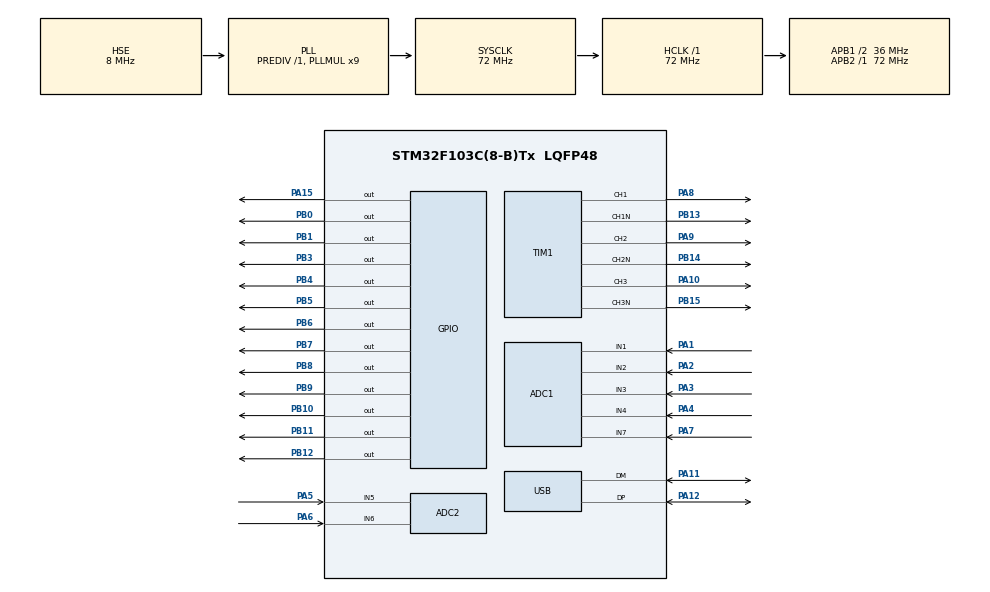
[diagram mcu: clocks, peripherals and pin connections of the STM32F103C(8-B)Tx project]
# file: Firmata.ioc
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ADC1.Channel-0\#ChannelRegularConversion=ADC_CHANNEL_1
ADC1.Channel-1\#ChannelRegularConversion=ADC_CHANNEL_2
ADC1.Channel-2\#ChannelRegularConversion=ADC_CHANNEL_3
ADC1.Channel-3\#ChannelRegularConversion=ADC_CHANNEL_4
ADC1.Channel-4\#ChannelRegularConversion=ADC_CHANNEL_7
ADC1.ContinuousConvMode=ENABLE
ADC1.NbrOfConversion=5
ADC1.NbrOfConversionFlag=1
ADC1.Rank-0\#ChannelRegularConversion=1
ADC1.Rank-1\#ChannelRegularConversion=2
ADC1.Rank-2\#ChannelRegularConversion=3
ADC1.Rank-3\#ChannelRegularConversion=4
ADC1.Rank-4\#ChannelRegularConversion=5
ADC1.SamplingTime-0\#ChannelRegularConversion=ADC_SAMPLETIME_41CYCLES_5
ADC1.SamplingTime-1\#ChannelRegularConversion=ADC_SAMPLETIME_41CYCLES_5
ADC1.SamplingTime-2\#ChannelRegularConversion=ADC_SAMPLETIME_41CYCLES_5
ADC1.SamplingTime-3\#ChannelRegularConversion=ADC_SAMPLETIME_41CYCLES_5
ADC1.SamplingTime-4\#ChannelRegularConversion=ADC_SAMPLETIME_41CYCLES_5
ADC1.master=1
ADC2.Channel-0\#ChannelRegularConversion=ADC_CHANNEL_5
ADC2.Channel-1\#ChannelRegularConversion=ADC_CHANNEL_6
ADC2.ContinuousConvMode=ENABLE
ADC2.NbrOfConversion=2
ADC2.NbrOfConversionFlag=1
ADC2.Rank-0\#ChannelRegularConversion=1
ADC2.Rank-1\#ChannelRegularConversion=2
ADC2.SamplingTime-0\#ChannelRegularConversion=ADC_SAMPLETIME_41CYCLES_5
ADC2.SamplingTime-1\#ChannelRegularConversion=ADC_SAMPLETIME_41CYCLES_5
Dma.ADC1.0.Direction=DMA_PERIPH_TO_MEMORY
Dma.ADC1.0.Instance=DMA1_Channel1
Dma.ADC1.0.MemDataAlignment=DMA_MDATAALIGN_HALFWORD
Dma.ADC1.0.MemInc=DMA_MINC_ENABLE
Dma.ADC1.0.Mode=DMA_NORMAL
Dma.ADC1.0.PeriphDataAlignment=DMA_PDATAALIGN_HALFWORD
Dma.ADC1.0.PeriphInc=DMA_PINC_DISABLE
Dma.ADC1.0.Priority=DMA_PRIORITY_HIGH
Dma.Request0=ADC1
Mcu.Family=STM32F1
Mcu.Name=STM32F103C(8-B)Tx
Mcu.Package=LQFP48
NVIC.DMA1_Channel1_IRQn=true\:0\:0\:false\:false\:true\:false
NVIC.PriorityGroup=NVIC_PRIORITYGROUP_4
NVIC.USB_LP_CAN1_RX0_IRQn=true\:0\:0\:false\:false\:true\:false
PA1.Signal=ADCx_IN1
PA10.Signal=S_TIM1_CH3
PA11.Mode=Device
PA11.Signal=USB_DM
PA12.Mode=Device
PA12.Signal=USB_DP
PA13.Mode=Serial_Wire
PA13.Signal=SYS_JTMS-SWDIO
PA14.Mode=Serial_Wire
PA14.Signal=SYS_JTCK-SWCLK
PA15.GPIO_PuPd=GPIO_PULLUP
PA15.PinState=GPIO_PIN_SET
PA15.Signal=GPIO_Output
PA2.Signal=ADCx_IN2
PA3.Signal=ADCx_IN3
PA4.Signal=ADCx_IN4
PA5.Signal=ADCx_IN5
PA6.Signal=ADCx_IN6
PA7.Signal=ADCx_IN7
PA8.Signal=S_TIM1_CH1
PA9.Signal=S_TIM1_CH2
PB0.GPIO_ModeDefaultOutputPP=GPIO_MODE_OUTPUT_PP
PB0.GPIO_PuPd=GPIO_PULLUP
PB0.PinState=GPIO_PIN_SET
PB0.Signal=GPIO_Output
PB1.GPIO_PuPd=GPIO_PULLUP
PB1.PinState=GPIO_PIN_SET
PB1.Signal=GPIO_Output
PB10.GPIO_PuPd=GPIO_PULLUP
PB10.PinState=GPIO_PIN_SET
PB10.Signal=GPIO_Output
PB11.GPIO_PuPd=GPIO_PULLUP
PB11.PinState=GPIO_PIN_SET
PB11.Signal=GPIO_Output
PB12.GPIO_PuPd=GPIO_PULLUP
PB12.PinState=GPIO_PIN_SET
PB12.Signal=GPIO_Output
PB13.Mode=PWM Generation1 CH1 CH1N
PB13.Signal=TIM1_CH1N
PB14.Mode=PWM Generation2 CH2 CH2N
PB14.Signal=TIM1_CH2N
PB15.Mode=PWM Generation3 CH3 CH3N
PB15.Signal=TIM1_CH3N
PB3.GPIO_ModeDefaultOutputPP=GPIO_MODE_OUTPUT_PP
PB3.GPIO_PuPd=GPIO_PULLUP
PB3.PinState=GPIO_PIN_SET
PB3.Signal=GPIO_Output
PB4.GPIO_PuPd=GPIO_PULLUP
PB4.PinState=GPIO_PIN_SET
PB4.Signal=GPIO_Output
PB5.GPIO_PuPd=GPIO_PULLUP
PB5.PinState=GPIO_PIN_SET
PB5.Signal=GPIO_Output
PB6.GPIO_PuPd=GPIO_PULLUP
PB6.PinState=GPIO_PIN_SET
PB6.Signal=GPIO_Output
PB7.GPIO_PuPd=GPIO_PULLUP
PB7.PinState=GPIO_PIN_SET
PB7.Signal=GPIO_Output
PB8.GPIO_PuPd=GPIO_PULLUP
PB8.PinState=GPIO_PIN_SET
PB8.Signal=GPIO_Output
PB9.GPIO_PuPd=GPIO_PULLUP
PB9.PinState=GPIO_PIN_SET
PB9.Signal=GPIO_Output
PD0-OSC_IN.Mode=HSE-External-Oscillator
PD0-OSC_IN.Signal=RCC_OSC_IN
PD1-OSC_OUT.Mode=HSE-External-Oscillator
PD1-OSC_OUT.Signal=RCC_OSC_OUT
ProjectManager.HeapSize=0x200
ProjectManager.StackSize=0x400
ProjectManager.TargetToolchain=MDK-ARM V5
RCC.ADCPresc=RCC_ADCPCLK2_DIV6
RCC.AHBFreq_Value=72000000
RCC.APB1CLKDivider=RCC_HCLK_DIV2
RCC.APB1Freq_Value=36000000
RCC.APB1TimFreq_Value=72000000
RCC.APB2Freq_Value=72000000
RCC.APB2TimFreq_Value=72000000
RCC.HCLKFreq_Value=72000000
RCC.PLLMUL=RCC_PLL_MUL9
RCC.SYSCLKFreq_VALUE=72000000
RCC.SYSCLKSource=RCC_SYSCLKSOURCE_PLLCLK
RCC.USBFreq_Value=48000000
RCC.USBPrescaler=RCC_USBCLKSOURCE_PLL_DIV1_5
SH.ADCx_IN1.0=ADC1_IN1,IN1
SH.ADCx_IN2.0=ADC1_IN2,IN2
SH.ADCx_IN3.0=ADC1_IN3,IN3
SH.ADCx_IN4.0=ADC1_IN4,IN4
SH.ADCx_IN5.0=ADC2_IN5,IN5
SH.ADCx_IN6.0=ADC2_IN6,IN6
SH.ADCx_IN7.0=ADC1_IN7,IN7
SH.S_TIM1_CH1.0=TIM1_CH1,PWM Generation1 CH1 CH1N
SH.S_TIM1_CH2.0=TIM1_CH2,PWM Generation2 CH2 CH2N
SH.S_TIM1_CH3.0=TIM1_CH3,PWM Generation3 CH3 CH3N
TIM1.Channel-PWM\ Generation1\ CH1\ CH1N=TIM_CHANNEL_1
TIM1.Channel-PWM\ Generation2\ CH2\ CH2N=TIM_CHANNEL_2
TIM1.Channel-PWM\ Generation3\ CH3\ CH3N=TIM_CHANNEL_3
USB_DEVICE.CLASS_NAME_FS=CDC
USB_DEVICE.VirtualMode=Cdc
USB_DEVICE.VirtualModeFS=Cdc_FS
VP_TIM1_VS_ClockSourceINT.Mode=Internal
VP_USB_DEVICE_VS_USB_DEVICE_CDC_FS.Mode=CDC_FS
board=custom

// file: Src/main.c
/* USER CODE BEGIN Header */
/**
  ******************************************************************************
  * @file           : main.c
  * @brief          : Main program body for firmata version 1.0, DACard-Basic
	* @author					:	Yawar Badri
  ******************************************************************************
  * This notice applies to any and all portions of this file
  * that are not between comment pairs USER CODE BEGIN and
  * USER CODE END. Other portions of this file, whether
  * inserted by the user or by software development tools
  * are owned by their respective copyright owners.
  *
  * Copyright (c) 2020 Yawar Badri
  * All rights reserved.
  *
  * Redistribution and use in source and binary forms, with or without
  * modification, are permitted, provided that the following conditions are met:
  *
  */
/* USER CODE END Header */

#include "main.h"
#include "usb_device.h"

ADC_HandleTypeDef hadc1;
ADC_HandleTypeDef hadc2;
DMA_HandleTypeDef hdma_adc1;

TIM_HandleTypeDef htim1;

void SystemClock_Config(void);
static void MX_GPIO_Init(void);
static void MX_DMA_Init(void);
static void MX_ADC1_Init(void);
static void MX_ADC2_Init(void);
static void MX_TIM1_Init(void);

/* USER CODE BEGIN 0 */

/*
Gain test function		// DEBUG 24032020 | 2100
the gain pins use active low logic.
*/
void gain_test_debug()
{
	HAL_GPIO_WritePin(GPIOB,GPIO_PIN_12, GPIO_PIN_RESET);
	HAL_GPIO_WritePin(GPIOA,GPIO_PIN_15, GPIO_PIN_RESET);
	HAL_Delay(1000);
	HAL_GPIO_WritePin(GPIOB,GPIO_PIN_12, GPIO_PIN_RESET);
	HAL_GPIO_WritePin(GPIOA,GPIO_PIN_15, GPIO_PIN_SET);
	HAL_Delay(1000);
	HAL_GPIO_WritePin(GPIOB,GPIO_PIN_12, GPIO_PIN_SET);
	HAL_GPIO_WritePin(GPIOA,GPIO_PIN_15, GPIO_PIN_RESET);
	HAL_Delay(1000);
	HAL_GPIO_WritePin(GPIOB,GPIO_PIN_12, GPIO_PIN_SET);
	HAL_GPIO_WritePin(GPIOA,GPIO_PIN_15, GPIO_PIN_SET);
}

/* USER CODE END 0 */

int main(void)
{
  /* USER CODE BEGIN 1 */
	/*
					VARIABLE AND FLAG DEFINITIONS
		all the buffer variables and flags are defined here
	*/
	//INPUT
//	uint16_t rot_enc_val = 0; //rotary potentiometer
	char sw_tct_state = 0;		//tactile switch value
	//ADC
	uint32_t aclv_val[2] = {0};		//ACLV value buffer+crossing detector on adc2
	uint32_t dc_adc[5] = {0};	//DC analog pin value buffer matrix (4adc+rot)
//	char cx_det = 0;					//crossing detector buffer
	//SENSOR
	uint16_t I_sens = 0;			//Current sensor value buffer
	uint16_t V_sens = 0;			//Voltage sensor value buffer
	//DIP6
	char dip6_ibuff[6] = {0};
	//PWM
	short int pwm_con[4] = {0};	//This array holds PWM control values -> ON/OFF, frequency premuls, independent/phases(1,2,3), duty
	//Send data buffer
	char dacb_sb[100] = {0};			//This buffer is used to hold the data to be sent over usb, including for now the adc data
	//================================
	//modify as required
	//FLAG_firmata
	char flg_f[6] = {0};
	//FLAG_command
	char flg_c[6] = {0};
	//================================
  /* USER CODE END 1 */

  /* MCU Configuration--------------------------------------------------------*/

  /* Reset of all peripherals, Initializes the Flash interface and the Systick. */
  HAL_Init();

  /* Configure the system clock */
  SystemClock_Config();

  /* Initialize all configured peripherals */
  MX_GPIO_Init();
  MX_DMA_Init();
  MX_ADC1_Init();
  MX_ADC2_Init();
  MX_TIM1_Init();
  MX_USB_DEVICE_Init();
  /* USER CODE BEGIN 2 */
/*
Generate a test signal to check whether gain control is working
in a separate function
*/
gain_test_debug();

  /* USER CODE END 2 */

  /* Infinite loop */
  /* USER CODE BEGIN WHILE */
  while (1)
  {

		//hal adc test_		4 DC analog pins using dc_adc[]
		HAL_ADC_Start_DMA(&hadc1,dc_adc,5);
		HAL_ADC_Start_DMA(&hadc2,aclv_val,2);

		// now send it over usb to check wether it works or not
                 // Device header
		sprintf(dacb_sb,"a%u ,b%u ,c%u ,d%u ",dc_adc[0],dc_adc[1],dc_adc[2],dc_adc[3]);
		/*
		DEBUG 01042020
		The analog values on the DC and AC channels are acquired well.
		Now process and send them

		*/
		CDC_Transmit_FS((uint8_t *) dacb_sb, sizeof(dacb_sb));
		HAL_Delay(1000);

    /* USER CODE END WHILE */

  }
}

void SystemClock_Config(void)
{
  RCC_OscInitTypeDef RCC_OscInitStruct = {0};
  RCC_ClkInitTypeDef RCC_ClkInitStruct = {0};
  RCC_PeriphCLKInitTypeDef PeriphClkInit = {0};

  /**Initializes the CPU, AHB and APB busses clocks
  */
  RCC_OscInitStruct.OscillatorType = RCC_OSCILLATORTYPE_HSE;
  RCC_OscInitStruct.HSEState = RCC_HSE_ON;
  RCC_OscInitStruct.HSEPredivValue = RCC_HSE_PREDIV_DIV1;
  RCC_OscInitStruct.HSIState = RCC_HSI_ON;
  RCC_OscInitStruct.PLL.PLLState = RCC_PLL_ON;
  RCC_OscInitStruct.PLL.PLLSource = RCC_PLLSOURCE_HSE;
  RCC_OscInitStruct.PLL.PLLMUL = RCC_PLL_MUL9;
  if (HAL_RCC_OscConfig(&RCC_OscInitStruct) != HAL_OK)
  {
    Error_Handler();
  }
  /**Initializes the CPU, AHB and APB busses clocks
  */
  RCC_ClkInitStruct.ClockType = RCC_CLOCKTYPE_HCLK|RCC_CLOCKTYPE_SYSCLK
                              |RCC_CLOCKTYPE_PCLK1|RCC_CLOCKTYPE_PCLK2;
  RCC_ClkInitStruct.SYSCLKSource = RCC_SYSCLKSOURCE_PLLCLK;
  RCC_ClkInitStruct.AHBCLKDivider = RCC_SYSCLK_DIV1;
  RCC_ClkInitStruct.APB1CLKDivider = RCC_HCLK_DIV2;
  RCC_ClkInitStruct.APB2CLKDivider = RCC_HCLK_DIV1;

  if (HAL_RCC_ClockConfig(&RCC_ClkInitStruct, FLASH_LATENCY_2) != HAL_OK)
  {
    Error_Handler();
  }
  PeriphClkInit.PeriphClockSelection = RCC_PERIPHCLK_ADC|RCC_PERIPHCLK_USB;
  PeriphClkInit.AdcClockSelection = RCC_ADCPCLK2_DIV6;
  PeriphClkInit.UsbClockSelection = RCC_USBCLKSOURCE_PLL_DIV1_5;
  if (HAL_RCCEx_PeriphCLKConfig(&PeriphClkInit) != HAL_OK)
  {
    Error_Handler();
  }
}

static void MX_ADC1_Init(void)
{

  ADC_ChannelConfTypeDef sConfig = {0};

  /**Common config
  */
  hadc1.Instance = ADC1;
  hadc1.Init.ScanConvMode = ADC_SCAN_ENABLE;
  hadc1.Init.ContinuousConvMode = ENABLE;
  hadc1.Init.DiscontinuousConvMode = DISABLE;
  hadc1.Init.ExternalTrigConv = ADC_SOFTWARE_START;
  hadc1.Init.DataAlign = ADC_DATAALIGN_RIGHT;
  hadc1.Init.NbrOfConversion = 5;
  if (HAL_ADC_Init(&hadc1) != HAL_OK)
  {
    Error_Handler();
  }
  /**Configure Regular Channel
  */
  sConfig.Channel = ADC_CHANNEL_1;
  sConfig.Rank = ADC_REGULAR_RANK_1;
  sConfig.SamplingTime = ADC_SAMPLETIME_41CYCLES_5;
  if (HAL_ADC_ConfigChannel(&hadc1, &sConfig) != HAL_OK)
  {
    Error_Handler();
  }
  /**Configure Regular Channel
  */
  sConfig.Channel = ADC_CHANNEL_2;
  sConfig.Rank = ADC_REGULAR_RANK_2;
  if (HAL_ADC_ConfigChannel(&hadc1, &sConfig) != HAL_OK)
  {
    Error_Handler();
  }
  /**Configure Regular Channel
  */
  sConfig.Channel = ADC_CHANNEL_3;
  sConfig.Rank = ADC_REGULAR_RANK_3;
  if (HAL_ADC_ConfigChannel(&hadc1, &sConfig) != HAL_OK)
  {
    Error_Handler();
  }
  /**Configure Regular Channel
  */
  sConfig.Channel = ADC_CHANNEL_4;
  sConfig.Rank = ADC_REGULAR_RANK_4;
  if (HAL_ADC_ConfigChannel(&hadc1, &sConfig) != HAL_OK)
  {
    Error_Handler();
  }
  /**Configure Regular Channel
  */
  sConfig.Channel = ADC_CHANNEL_7;
  sConfig.Rank = ADC_REGULAR_RANK_5;
  if (HAL_ADC_ConfigChannel(&hadc1, &sConfig) != HAL_OK)
  {
    Error_Handler();
  }

}

static void MX_ADC2_Init(void)
{

  ADC_ChannelConfTypeDef sConfig = {0};

  /**Common config
  */
  hadc2.Instance = ADC2;
  hadc2.Init.ScanConvMode = ADC_SCAN_ENABLE;
  hadc2.Init.ContinuousConvMode = ENABLE;
  hadc2.Init.DiscontinuousConvMode = DISABLE;
  hadc2.Init.ExternalTrigConv = ADC_SOFTWARE_START;
  hadc2.Init.DataAlign = ADC_DATAALIGN_RIGHT;
  hadc2.Init.NbrOfConversion = 2;
  if (HAL_ADC_Init(&hadc2) != HAL_OK)
  {
    Error_Handler();
  }
  /**Configure Regular Channel
  */
  sConfig.Channel = ADC_CHANNEL_5;
  sConfig.Rank = ADC_REGULAR_RANK_1;
  sConfig.SamplingTime = ADC_SAMPLETIME_41CYCLES_5;
  if (HAL_ADC_ConfigChannel(&hadc2, &sConfig) != HAL_OK)
  {
    Error_Handler();
  }
  /**Configure Regular Channel
  */
  sConfig.Channel = ADC_CHANNEL_6;
  sConfig.Rank = ADC_REGULAR_RANK_2;
  if (HAL_ADC_ConfigChannel(&hadc2, &sConfig) != HAL_OK)
  {
    Error_Handler();
  }

}

static void MX_TIM1_Init(void)
{

  TIM_ClockConfigTypeDef sClockSourceConfig = {0};
  TIM_MasterConfigTypeDef sMasterConfig = {0};
  TIM_OC_InitTypeDef sConfigOC = {0};
  TIM_BreakDeadTimeConfigTypeDef sBreakDeadTimeConfig = {0};

  htim1.Instance = TIM1;
  htim1.Init.Prescaler = 0;
  htim1.Init.CounterMode = TIM_COUNTERMODE_UP;
  htim1.Init.Period = 0;
  htim1.Init.ClockDivision = TIM_CLOCKDIVISION_DIV1;
  htim1.Init.RepetitionCounter = 0;
  htim1.Init.AutoReloadPreload = TIM_AUTORELOAD_PRELOAD_DISABLE;
  if (HAL_TIM_Base_Init(&htim1) != HAL_OK)
  {
    Error_Handler();
  }
  sClockSourceConfig.ClockSource = TIM_CLOCKSOURCE_INTERNAL;
  if (HAL_TIM_ConfigClockSource(&htim1, &sClockSourceConfig) != HAL_OK)
  {
    Error_Handler();
  }
  if (HAL_TIM_PWM_Init(&htim1) != HAL_OK)
  {
    Error_Handler();
  }
  sMasterConfig.MasterOutputTrigger = TIM_TRGO_RESET;
  sMasterConfig.MasterSlaveMode = TIM_MASTERSLAVEMODE_DISABLE;
  if (HAL_TIMEx_MasterConfigSynchronization(&htim1, &sMasterConfig) != HAL_OK)
  {
    Error_Handler();
  }
  sConfigOC.OCMode = TIM_OCMODE_PWM1;
  sConfigOC.Pulse = 0;
  sConfigOC.OCPolarity = TIM_OCPOLARITY_HIGH;
  sConfigOC.OCNPolarity = TIM_OCNPOLARITY_HIGH;
  sConfigOC.OCFastMode = TIM_OCFAST_DISABLE;
  sConfigOC.OCIdleState = TIM_OCIDLESTATE_RESET;
  sConfigOC.OCNIdleState = TIM_OCNIDLESTATE_RESET;
  if (HAL_TIM_PWM_ConfigChannel(&htim1, &sConfigOC, TIM_CHANNEL_1) != HAL_OK)
  {
    Error_Handler();
  }
  if (HAL_TIM_PWM_ConfigChannel(&htim1, &sConfigOC, TIM_CHANNEL_2) != HAL_OK)
  {
    Error_Handler();
  }
  if (HAL_TIM_PWM_ConfigChannel(&htim1, &sConfigOC, TIM_CHANNEL_3) != HAL_OK)
  {
    Error_Handler();
  }
  sBreakDeadTimeConfig.OffStateRunMode = TIM_OSSR_DISABLE;
  sBreakDeadTimeConfig.OffStateIDLEMode = TIM_OSSI_DISABLE;
  sBreakDeadTimeConfig.LockLevel = TIM_LOCKLEVEL_OFF;
  sBreakDeadTimeConfig.DeadTime = 0;
  sBreakDeadTimeConfig.BreakState = TIM_BREAK_DISABLE;
  sBreakDeadTimeConfig.BreakPolarity = TIM_BREAKPOLARITY_HIGH;
  sBreakDeadTimeConfig.AutomaticOutput = TIM_AUTOMATICOUTPUT_DISABLE;
  if (HAL_TIMEx_ConfigBreakDeadTime(&htim1, &sBreakDeadTimeConfig) != HAL_OK)
  {
    Error_Handler();
  }
  HAL_TIM_MspPostInit(&htim1);

}

static void MX_DMA_Init(void)
{
  /* DMA controller clock enable */
  __HAL_RCC_DMA1_CLK_ENABLE();

  /* DMA interrupt init */
  /* DMA1_Channel1_IRQn interrupt configuration */
  HAL_NVIC_SetPriority(DMA1_Channel1_IRQn, 0, 0);
  HAL_NVIC_EnableIRQ(DMA1_Channel1_IRQn);

}

static void MX_GPIO_Init(void)
{
  GPIO_InitTypeDef GPIO_InitStruct = {0};

  /* GPIO Ports Clock Enable */
  __HAL_RCC_GPIOD_CLK_ENABLE();
  __HAL_RCC_GPIOA_CLK_ENABLE();
  __HAL_RCC_GPIOB_CLK_ENABLE();

  /*Configure GPIO pin Output Level */
  HAL_GPIO_WritePin(GPIOB, GPIO_PIN_0|GPIO_PIN_1|GPIO_PIN_10|GPIO_PIN_11
                          |GPIO_PIN_12|GPIO_PIN_3|GPIO_PIN_4|GPIO_PIN_5
                          |GPIO_PIN_6|GPIO_PIN_7|GPIO_PIN_8|GPIO_PIN_9, GPIO_PIN_SET);

  /*Configure GPIO pin Output Level */
  HAL_GPIO_WritePin(GPIOA, GPIO_PIN_15, GPIO_PIN_SET);

  /*Configure GPIO pins : PB0 PB1 PB10 PB11
                           PB12 PB3 PB4 PB5
                           PB6 PB7 PB8 PB9 */
  GPIO_InitStruct.Pin = GPIO_PIN_0|GPIO_PIN_1|GPIO_PIN_10|GPIO_PIN_11
                          |GPIO_PIN_12|GPIO_PIN_3|GPIO_PIN_4|GPIO_PIN_5
                          |GPIO_PIN_6|GPIO_PIN_7|GPIO_PIN_8|GPIO_PIN_9;
  GPIO_InitStruct.Mode = GPIO_MODE_OUTPUT_PP;
  GPIO_InitStruct.Pull = GPIO_PULLUP;
  GPIO_InitStruct.Speed = GPIO_SPEED_FREQ_LOW;
  HAL_GPIO_Init(GPIOB, &GPIO_InitStruct);

  /*Configure GPIO pin : PA15 */
  GPIO_InitStruct.Pin = GPIO_PIN_15;
  GPIO_InitStruct.Mode = GPIO_MODE_OUTPUT_PP;
  GPIO_InitStruct.Pull = GPIO_PULLUP;
  GPIO_InitStruct.Speed = GPIO_SPEED_FREQ_LOW;
  HAL_GPIO_Init(GPIOA, &GPIO_InitStruct);

}

void Error_Handler(void)
{
}

/************************ (C) COPYRIGHT STMicroelectronics *****END OF FILE****/
